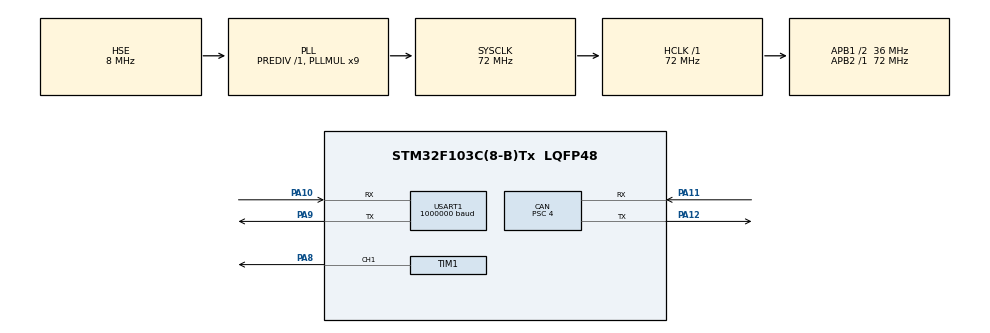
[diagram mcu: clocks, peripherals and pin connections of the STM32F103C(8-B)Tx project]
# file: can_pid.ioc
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CAN.BS1=CAN_BS1_3TQ
CAN.BS2=CAN_BS2_5TQ
CAN.CalculateBaudRate=1000000
CAN.CalculateTimeBit=1000
CAN.CalculateTimeQuantum=111.11111111111111
CAN.Mode=CAN_MODE_NORMAL
CAN.Prescaler=4
CAN.SJW=CAN_SJW_2TQ
Mcu.Family=STM32F1
Mcu.Name=STM32F103C(8-B)Tx
Mcu.Package=LQFP48
NVIC.PriorityGroup=NVIC_PRIORITYGROUP_4
NVIC.USART1_IRQn=true\:0\:0\:false\:false\:true\:true\:true\:true
NVIC.USB_HP_CAN1_TX_IRQn=true\:0\:0\:false\:false\:true\:true\:true\:true
NVIC.USB_LP_CAN1_RX0_IRQn=true\:0\:0\:false\:false\:true\:true\:true\:true
PA10.Mode=Asynchronous
PA10.Signal=USART1_RX
PA11.Mode=CAN_Activate
PA11.Signal=CAN_RX
PA12.Mode=CAN_Activate
PA12.Signal=CAN_TX
PA13.Mode=Serial_Wire
PA13.Signal=SYS_JTMS-SWDIO
PA14.Mode=Serial_Wire
PA14.Signal=SYS_JTCK-SWCLK
PA8.Signal=S_TIM1_CH1
PA9.Mode=Asynchronous
PA9.Signal=USART1_TX
PD0-OSC_IN.Mode=HSE-External-Oscillator
PD0-OSC_IN.Signal=RCC_OSC_IN
PD1-OSC_OUT.Mode=HSE-External-Oscillator
PD1-OSC_OUT.Signal=RCC_OSC_OUT
ProjectManager.HeapSize=0x200
ProjectManager.StackSize=0x400
ProjectManager.TargetToolchain=Makefile
RCC.AHBFreq_Value=72000000
RCC.APB1CLKDivider=RCC_HCLK_DIV2
RCC.APB1Freq_Value=36000000
RCC.APB1TimFreq_Value=72000000
RCC.APB2Freq_Value=72000000
RCC.APB2TimFreq_Value=72000000
RCC.HCLKFreq_Value=72000000
RCC.PLLMUL=RCC_PLL_MUL9
RCC.PLLSourceVirtual=RCC_PLLSOURCE_HSE
RCC.SYSCLKFreq_VALUE=72000000
RCC.SYSCLKSource=RCC_SYSCLKSOURCE_PLLCLK
RCC.USBFreq_Value=72000000
SH.S_TIM1_CH1.0=TIM1_CH1,PWM Generation1 CH1
TIM1.AutoReloadPreload=TIM_AUTORELOAD_PRELOAD_ENABLE
TIM1.Channel-PWM\ Generation1\ CH1=TIM_CHANNEL_1
TIM1.Period=1999
TIM1.Prescaler=71
USART1.BaudRate=1000000
USART1.VirtualMode=VM_ASYNC
board=custom

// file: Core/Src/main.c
/* USER CODE BEGIN Header */
/**
  ******************************************************************************
  * @file           : main.c
  * @brief          : Main program body
  ******************************************************************************
  * @attention
  *
  * Copyright (c) 2025 STMicroelectronics.
  * All rights reserved.
  *
  * This software is licensed under terms that can be found in the LICENSE file
  * in the root directory of this software component.
  * If no LICENSE file comes with this software, it is provided AS-IS.
  *
  ******************************************************************************
  */
/* USER CODE END Header */
#include "main.h"
#include "can.h"
#include "tim.h"
#include "usart.h"
#include "gpio.h"
#include <stdio.h>
#include <math.h>

/* USER CODE BEGIN PV */
cascade_pid_controller_t motor_cascade_pid;
float desired_angle = 0.0f;         // 期望目标角度
float desired_speed = 0.0f;         // 目标速度（仅在速度模式下使用）
volatile int control_mode = 0;      // 控制模式：0 = 角度闭环，1 = 速度闭环
pid_controller_t manual_speed_pid;  // 专用速度PID

// 平滑上升速率（度/秒），用于防止目标角度突变导致大电流
const float MAX_RAMP_DEG_PER_SEC = 90.0f; // 90 deg/s as example
uint32_t last_pid_time = 0;  // 上次PID计算时间
uint8_t uart_tx_buffer[100];  // UART发送缓冲区
/* USER CODE END PV */

void SystemClock_Config(void);

int main(void)
{

  /* MCU Configuration--------------------------------------------------------*/

  /* Reset of all peripherals, Initializes the Flash interface and the Systick. */
  HAL_Init();

  /* Configure the system clock */
  SystemClock_Config();

  /* Initialize all configured peripherals */
  MX_GPIO_Init();
  MX_TIM1_Init();
  MX_USART1_UART_Init();
  MX_CAN_Init();
  /* USER CODE BEGIN 2 */

  // 初始化串级PID控制器：外环角度PID、内环速度PID
  cascade_pid_init(&motor_cascade_pid,
                   2.0f,   0.005f, 0.02f,   // angle Kp, Ki, Kd
                   0.2f,   0.03f,  0.005f); // speed Kp, Ki, Kd

  // 初始目标（以输出轮角度为单位，度）
  desired_angle = 0.0f;
  motor_cascade_pid.target_angle = 0.0f;  // 转子角度
  motor_cascade_pid.target_speed = 0.0f;

  // 电机控制应在主循环中根据反馈数据进行

  /* USER CODE END 2 */

  /* Infinite loop */
  while (1)
  {

    /* USER CODE BEGIN 3 */
    // 获取当前系统时间
    uint32_t current_time = HAL_GetTick();

    // 每10ms执行一次角度->速度->电流串级控制 (100Hz)
    if(current_time - last_pid_time >= 10)
    {
      // 关键保护：仅当电机反馈已初始化时才执行控制
      if (motor_angle_inited)
      {
        // 计算时间间隔(秒)，最小防护防止极小时间间隔
        float dt = (current_time - last_pid_time) / 1000.0f;
        if (dt < 0.001f) dt = 0.001f;

        // 当前多圈角度与速度（考虑减速比）
        float current_angle = motor_continuous_angle / 19.2037f; // 单位：度（输出轴角度）
        float current_speed = (float)motor_feedback[0].speed / 19.2037f; // 单位：rpm（输出轴转速）

        // 平滑目标角度（防止突变）
        // desired_angle 是输出轮的目标角度，需要转换为转子角度
        float diff = desired_angle - (motor_cascade_pid.target_angle / 19.2037f);
        float max_step = MAX_RAMP_DEG_PER_SEC * dt;
        if (fabsf(diff) <= max_step) {
            motor_cascade_pid.target_angle = desired_angle * 19.2037f;
        }
        else
        {
            motor_cascade_pid.target_angle += (diff > 0 ? max_step : -max_step) * 19.2037f;
        }

        // 串级PID计算：输入目标角度（转子角度）、当前角度（输出轮角度）与当前速度（输出轮速度），返回输出电流
        // 注意：cascade_pid_calculate函数内部需要处理角度单位的转换
        float output_current = cascade_pid_calculate(&motor_cascade_pid,
                                                   motor_cascade_pid.target_angle,     // 转子目标角度
                                                   current_angle,                      // 输出轮当前角度
                                                   current_speed,                      // 输出轮当前速度
                                                   dt);

        // 输出限幅与死区保护
        const float MAX_CURR = 12000.0f; // 根据电调能力调整，不能超过16384
        const float MIN_ACTIVE_CURR = 10.0f; // 小电流视为0
        if (output_current > MAX_CURR)
        {
          output_current = MAX_CURR;
        }
        if (output_current < -MAX_CURR)
        {
          output_current = -MAX_CURR;
        }
        if (fabsf(output_current) < MIN_ACTIVE_CURR)
        {
          output_current = 0.0f;
        }

        // 调试 / CSV 输出： target_angle, current_angle, target_speed, current_speed, pid_out
        char debug_buffer[128];
        int len = snprintf(debug_buffer, sizeof(debug_buffer), "%.1f,%.1f,%.1f,%.1f,%.1f\r\n",
                           motor_cascade_pid.target_angle / 19.2037f,  // 输出轮目标角度
                           current_angle,  // 输出轮当前角度
                           motor_cascade_pid.target_speed / 19.2037f,  // 输出轮目标速度
                           current_speed,  // 输出轮当前速度
                           motor_cascade_pid.speed_pid.output);
        HAL_UART_Transmit(&huart1, (uint8_t*)debug_buffer, len, 50);

        // 发送电流命令
        can_dji_motor_control(1, (int16_t)output_current);
      }
      else
      {
        // 电机反馈未初始化，发送 0 电流保持电机空闲
        can_dji_motor_control(1, 0);
      }

      // 更新上次执行时间
      last_pid_time = current_time;
    }

    // 添加一个小延迟以减少CPU占用
    HAL_Delay(1);
  }
  /* USER CODE END 3 */
}

void SystemClock_Config(void)
{
  RCC_OscInitTypeDef RCC_OscInitStruct = {0};
  RCC_ClkInitTypeDef RCC_ClkInitStruct = {0};

  /** Initializes the RCC Oscillators according to the specified parameters
  * in the RCC_OscInitTypeDef structure.
  */
  RCC_OscInitStruct.OscillatorType = RCC_OSCILLATORTYPE_HSE;
  RCC_OscInitStruct.HSEState = RCC_HSE_ON;
  RCC_OscInitStruct.HSEPredivValue = RCC_HSE_PREDIV_DIV1;
  RCC_OscInitStruct.HSIState = RCC_HSI_ON;
  RCC_OscInitStruct.PLL.PLLState = RCC_PLL_ON;
  RCC_OscInitStruct.PLL.PLLSource = RCC_PLLSOURCE_HSE;
  RCC_OscInitStruct.PLL.PLLMUL = RCC_PLL_MUL9;
  if (HAL_RCC_OscConfig(&RCC_OscInitStruct) != HAL_OK)
  {
    Error_Handler();
  }

  /** Initializes the CPU, AHB and APB buses clocks
  */
  RCC_ClkInitStruct.ClockType = RCC_CLOCKTYPE_HCLK|RCC_CLOCKTYPE_SYSCLK
                              |RCC_CLOCKTYPE_PCLK1|RCC_CLOCKTYPE_PCLK2;
  RCC_ClkInitStruct.SYSCLKSource = RCC_SYSCLKSOURCE_PLLCLK;
  RCC_ClkInitStruct.AHBCLKDivider = RCC_SYSCLK_DIV1;
  RCC_ClkInitStruct.APB1CLKDivider = RCC_HCLK_DIV2;
  RCC_ClkInitStruct.APB2CLKDivider = RCC_HCLK_DIV1;

  if (HAL_RCC_ClockConfig(&RCC_ClkInitStruct, FLASH_LATENCY_2) != HAL_OK)
  {
    Error_Handler();
  }
}

void Error_Handler(void)
{
  __disable_irq();
  while (1)
  {
  }
}
